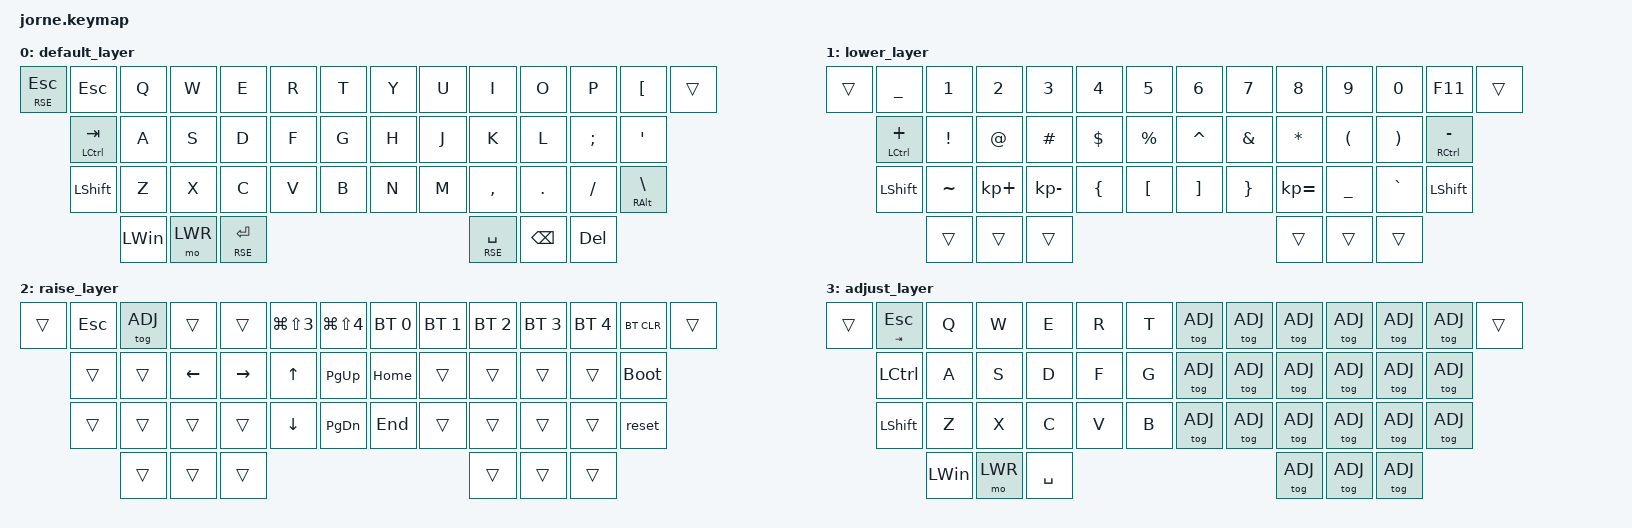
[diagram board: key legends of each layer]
/*
 * Copyright (c) 2020 The ZMK Contributors
 *
 * SPDX-License-Identifier: MIT
 */

#include <behaviors.dtsi>
#include <dt-bindings/zmk/keys.h>
#include <dt-bindings/zmk/bt.h>

#define DEF 0
#define LWR 1
#define RSE 2
#define ADJ 3

/ {
        keymap {
                compatible = "zmk,keymap";

                default_layer {
// -----------------------------------------------------------------------------------------
// |  RSE |   ~       |  Q  |  W  |  E  |  R  |  T  |   |  Y  |  U   |  I  |  O  |  P  |  [   |     |
//        | CTRL/Tab  |  A  |  S  |  D  |  F  |  G  |   |  H  |  J   |  K  |  L  |  ;  |  '   |
//        | SHFT      |  Z  |  X  |  C  |  V  |  B  |   |  N  |  M   |  ,  |  .  |  /  | RALT |
//                           | GUI | LWR | RET |   | SPC | BKSP | RSE |
                        bindings = <
   &lt RSE ESC &kp ESC       &kp Q &kp W &kp E &kp R &kp T &kp Y         &kp U  &kp I     &kp O   &kp P    &kp LBKT           &trans
               &mt LCTRL TAB &kp A &kp S &kp D &kp F &kp G &kp H         &kp J  &kp K     &kp L   &kp SEMI &kp SQT
               &kp LSHFT     &kp Z &kp X &kp C &kp V &kp B &kp N         &kp M  &kp COMMA &kp DOT &kp FSLH &mt RALT BACKSLASH
                        &kp LWIN &mo LWR &lt RSE RET                     &lt RSE SPACE &kp BSPC &kp DEL
                        >;
                };
                lower_layer {
// -----------------------------------------------------------------------------------------
// |     |  _  |  1  |  2  |  3  |  4  |  5  |   |  6  |  7  |  8  |  9  |  0  | F11 |     |
//       |  +  |  !  |  @  |  #  |  $  |  %  |   |  ^  |  &  |  *  |  (  |  )  |  -  |
//       | SHFT | ~  |  +  |  -  |  {  |  [  |   |  ]  |  }  |  =  |  _  |  `  |SHFT |
//                    |    |     |    |   |    |     |    |
                        bindings = <
  &trans &kp UNDER      &kp N1      &kp N2      &kp N3       &kp N4         &kp N5            &kp N6             &kp N7           &kp N8         &kp N9          &kp N0     &kp F11          &trans
          &mt LCTRL PLUS &kp EXCL    &kp AT      &kp HASH     &kp DLLR       &kp PRCNT         &kp CARET          &kp AMPS         &kp STAR       &kp LPAR        &kp RPAR   &mt RCTRL MINUS
          &kp LSHFT      &kp TILDE   &kp KP_PLUS &kp KP_MINUS &kp LEFT_BRACE &kp LEFT_BRACKET  &kp RIGHT_BRACKET  &kp RIGHT_BRACE  &kp KP_EQUAL   &kp UNDERSCORE  &kp GRAVE     &kp LSHFT
                                              &trans &trans &trans   &trans &trans &trans
                        >;
                };

                raise_layer {
                        // -----------------------------------------------------------------------------------------
                        // |     |   ESC  | ADJ |        |         |cmd+sh+3|cmd+sh+4|      |     |     |     |     |     |     |     |
                        //       |        |     |  LEFT  |  RIGHT  |  UP    |  PG_UP |      |HOME |     |     |     |     |     |
                        //       |        |     |        |         |  DOWN  |  PG_UP |      | END |     |     |     |     |     |
                        //                          |     |     |     |                     |     |        |     |
                        bindings = <
   &trans &kp ESC &tog ADJ &trans   &trans    &kp LG(LS(N3))   &kp LG(LS(N4))          &bt BT_SEL 0 &bt BT_SEL 1 &bt BT_SEL 2 &bt BT_SEL 3 &bt BT_SEL 4 &bt BT_CLR &trans
          &trans  &trans  &kp LEFT &kp RIGHT &kp UP   &kp PG_UP                        &kp HOME   &trans   &trans  &trans &trans &bootloader
          &trans  &trans  &trans   &trans    &kp DOWN &kp PG_DN                        &kp END    &trans   &trans  &trans &trans &reset
                                 &trans &trans &trans   &trans &trans &trans
                        >;
                };
                adjust_layer {
// -----------------------------------------------------------------------------------------
// |  RSE |   ~       |  Q  |  W  |  E  |  R  |  T  |   |  Y  |  U   |  I  |  O  |  P  |  [   |     |
//        | CTRL/Tab  |  A  |  S  |  D  |  F  |  G  |   |  H  |  J   |  K  |  L  |  ;  |  '   |
//        | SHFT      |  Z  |  X  |  C  |  V  |  B  |   |  N  |  M   |  ,  |  .  |  /  | RALT |
//                           | GUI | LWR | RET |   | SPC | BKSP | RSE |
                        bindings = <
    &trans     &mt TAB ESC   &kp Q &kp W &kp E &kp R &kp T     &tog ADJ   &tog ADJ  &tog ADJ  &tog ADJ  &tog ADJ  &tog ADJ    &trans
               &kp LCTRL     &kp A &kp S &kp D &kp F &kp G     &tog ADJ  &tog ADJ  &tog ADJ  &tog ADJ  &tog ADJ  &tog ADJ
               &kp LSHFT     &kp Z &kp X &kp C &kp V &kp B     &tog ADJ  &tog ADJ  &tog ADJ  &tog ADJ  &tog ADJ  &tog ADJ
                        &kp LWIN &mo LWR  &kp SPACE                      &tog ADJ &tog ADJ &tog ADJ
                        >;
                };



        };
};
